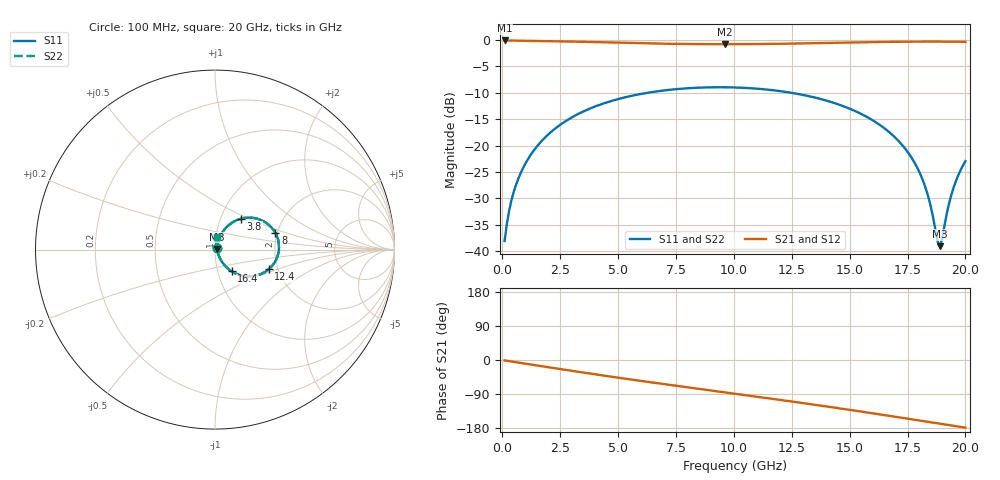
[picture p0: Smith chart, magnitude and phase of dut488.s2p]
! Touchstone file exported from HFSS 2026.1.0
!  File:  C:/ffzhzh/LocalFiles/Ansys_Project_Files/temp_train_TSV_RDL_488_1783105292_35180.aedt
!  Generated:  03:13:35 AM Jul  4, 2026
!  Design:  TSV_RDL
!  Project:  temp_train_TSV_RDL_488_1783105292_35180
! Variables:
!  h_bsmrdl = 3.54um
!  h_ox = 20um
!  h_rdl = 5um
!  h_sub = 73.97um
!  h_tmrdl = 3.43um
!  h_tsv = 73.97um
!  h_via = 3um
!  l_bsmrdl = 229.57um
!  l_sub = 2947.93um
!  l_tmrdl = 422.22um
!  m_sub = 200um
!  pitch = 49.51um
!  r_tsv = 13.51um
!  s_tmrdl = 10um
!  w_bsmrdl = 29.19um
!  w_sub = 500um
!  w_tmrdl = 27.59um
!  x_tsv_center1 = 436.015um
!  x_tsv_center2 = 694.775um
!  x_tsv_center3 = 1144.585um
!  x_tsv_center4 = 1403.345um
!  x_tsv_center5 = 1853.155um
!  x_tsv_center6 = 2111.915um
# GHz S MA R 50.000000
! Terminal data exported
! Port[1] = TM_RDL1_1_T1
! Port[2] = TM_RDL5_1_T1
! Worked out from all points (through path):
!   200 points, 100 MHz to 20 GHz, reference 50 ohm
!   highest |S21| = -0.09 dB at 100 MHz (marker M1); lowest = -0.8 dB at 9.6 GHz (marker M2)
!   group delay of S21, straight-line fit = 24.2 ps
!   lowest |S11| = -39.0 dB at 18.9 GHz (marker M3), VSWR 1.02, Z = 51.1 + j0.297 ohm
!   |S11| at or under -10 dB: start of sweep to 6.263 GHz; 12.49 GHz to end of sweep
!   |S22| runs from -38.9 to -8.9 dB; largest |S21 - S12| = 1.7e-14
!   S11 on the Smith chart (normalised r, x): 100 MHz: 1.02, +0.02; 3.8 GHz: 1.25, +0.45; 8 GHz: 1.96, +0.41; 12.4 GHz: 1.79, -0.43; 16.4 GHz: 1.16, -0.29; 20 GHz: 1.01, +0.14
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0.1  0.01254 36.7  0.9901 -1.0  0.9901 -1.0  0.01254 36.7
! Gamma 0 0 0 0
! Port Impedance 50 0 50 0
0.3  0.02455 59.4  0.9884 -3.0  0.9884 -3.0  0.02455 59.4
0.5  0.03691 65.4  0.9869 -5.0  0.9869 -5.0  0.03691 65.4
1.1  0.07398 68.6  0.9835 -10.7  0.9835 -10.7  0.07398 68.6
2.1  0.1346 63.5  0.976 -20.2  0.976 -20.2  0.1346 63.5
3.5  0.2107 52.4  0.961 -33.2  0.961 -33.2  0.2107 52.4
3.8  0.2252 49.9  0.9574 -35.9  0.9574 -35.9  0.2252 49.9
6.8  0.3292 24.9  0.9243 -62.0  0.9243 -62.0  0.3292 24.9
8  0.3493 15.2  0.9162 -72.1  0.9162 -72.1  0.3493 15.2
9.6  0.3571 2.4  0.9123 -85.3  0.9123 -85.3  0.3571 2.4
10.1  0.3551 -1.5  0.9127 -89.4  0.9127 -89.4  0.3551 -1.5
12.4  0.3186 -20.1  0.9238 -108.7  0.9238 -108.7  0.3186 -20.1
13.4  0.2888 -28.3  0.9321 -117.3  0.9321 -117.3  0.2888 -28.3
16.4  0.1519 -52.7  0.9583 -144.4  0.9583 -144.4  0.1519 -52.7
16.7  0.1349 -55.0  0.9602 -147.2  0.9602 -147.2  0.1349 -54.9
17.4  0.09361 -59.3  0.9636 -153.8  0.9636 -153.8  0.09359 -59.2
18  0.05703 -60.4  0.9653 -159.5  0.9653 -159.5  0.05702 -60.3
18.4  0.03272 -55.5  0.9657 -163.3  0.9657 -163.3  0.03273 -55.3
18.8  0.01237 -14.9  0.9655 -167.1  0.9655 -167.1  0.01247 -14.5
18.9  0.01119 15.0  0.9653 -168.1  0.9653 -168.1  0.01132 15.1
19.4  0.03465 76.5  0.964 -172.8  0.964 -172.8  0.03472 76.3
20  0.07147 80.7  0.9611 -178.5  0.9611 -178.5  0.07152 80.5
